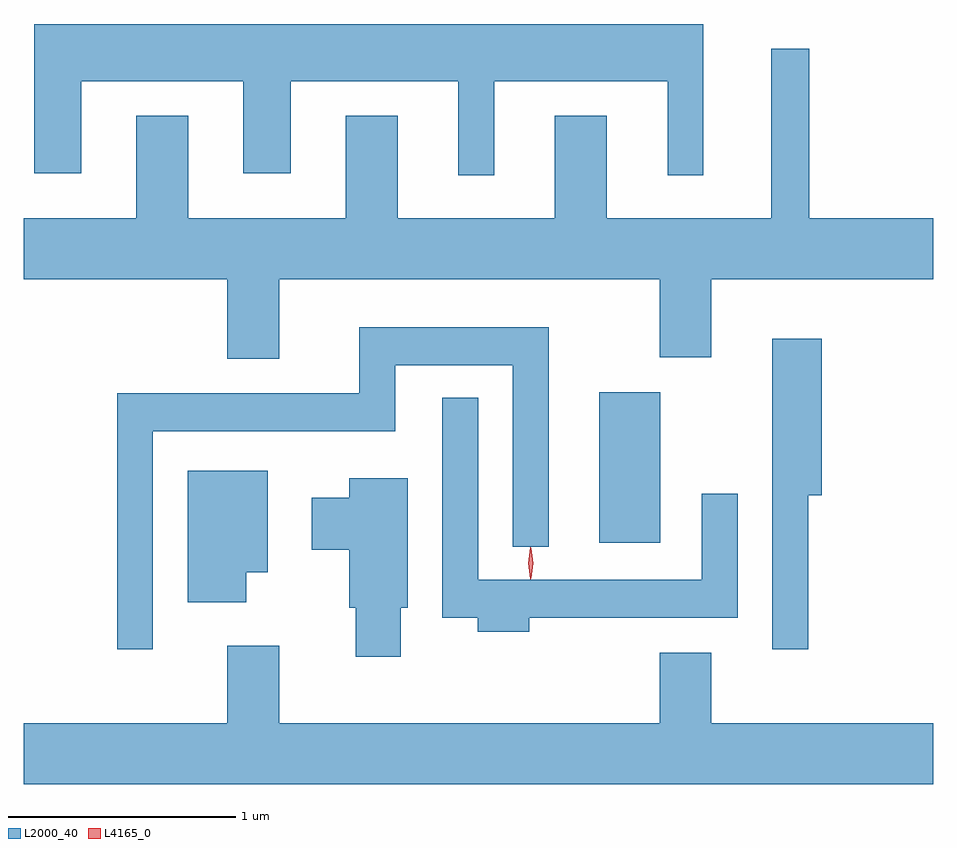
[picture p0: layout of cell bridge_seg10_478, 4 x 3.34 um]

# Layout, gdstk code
import gdstk
lib = gdstk.Library(unit=1e-6, precision=1e-09)
def R(c, l, rs):  # rectangles x0, y0, x1, y1
    for r in rs: c.add(gdstk.rectangle(r[:2], r[2:], *l))
def P(c, l, *ps):  # polygons
    for p in ps: c.add(gdstk.Polygon(p, *l))
L2000_40 = (2000, 40)
L4165_0 = (4165, 0)

bridge_seg10_478 = lib.new_cell('bridge_seg10_478')
R(bridge_seg10_478, L2000_40, [(907.526,2152.716,907.794,2153.379)])
P(bridge_seg10_478, L2000_40, [(907.064,2154.746),(907.826,2154.746),(907.826,2154.333),(907.984,2154.333),(907.984,2154.997),(905.041,2154.997),(905.041,2154.341),(905.249,2154.341),(905.249,2154.746),(905.961,2154.746),(905.961,2154.341),(906.169,2154.341),(906.169,2154.746),(906.906,2154.746),(906.906,2154.333),(907.064,2154.333)],
  [(908.995,2154.144),(908.449,2154.144),(908.449,2154.888),(908.281,2154.888),(908.281,2154.144),(907.559,2154.144),(907.559,2154.594),(907.331,2154.594),(907.331,2154.144),(906.639,2154.144),(906.639,2154.594),(906.411,2154.594),(906.411,2154.144),(905.719,2154.144),(905.719,2154.594),(905.491,2154.594),(905.491,2154.144),(904.995,2154.144),(904.995,2153.876),(905.891,2153.876),(905.891,2153.526),(906.119,2153.526),(906.119,2153.876),(907.791,2153.876),(907.791,2153.531),(908.019,2153.531),(908.019,2153.876),(908.995,2153.876)],
  [(905.564,2153.206),(906.629,2153.206),(906.629,2153.496),(907.146,2153.496),(907.146,2152.698),(907.304,2152.698),(907.304,2153.664),(906.471,2153.664),(906.471,2153.374),(905.406,2153.374),(905.406,2152.248),(905.564,2152.248)],
  [(908.444,2152.926),(908.504,2152.926),(908.504,2153.614),(908.286,2153.614),(908.286,2152.248),(908.444,2152.248)],
  [(907.219,2152.386),(908.134,2152.386),(908.134,2152.933),(907.976,2152.933),(907.976,2152.554),(906.994,2152.554),(906.994,2153.353),(906.836,2153.353),(906.836,2152.386),(906.991,2152.386),(906.991,2152.326),(907.219,2152.326)],
  [(905.974,2152.586),(906.069,2152.586),(906.069,2153.034),(905.716,2153.034),(905.716,2152.456),(905.974,2152.456)],
  [(906.654,2152.431),(906.684,2152.431),(906.684,2152.999),(906.426,2152.999),(906.426,2152.914),(906.261,2152.914),(906.261,2152.686),(906.426,2152.686),(906.426,2152.431),(906.456,2152.431),(906.456,2152.216),(906.654,2152.216)],
  [(908.995,2151.924),(908.019,2151.924),(908.019,2152.234),(907.791,2152.234),(907.791,2151.924),(906.119,2151.924),(906.119,2152.264),(905.891,2152.264),(905.891,2151.924),(904.995,2151.924),(904.995,2151.656),(908.995,2151.656)])
P(bridge_seg10_478, L4165_0, [(907.222,2152.557),(907.213,2152.627),(907.222,2152.696),(907.223,2152.696),(907.224,2152.696),(907.233,2152.627),(907.224,2152.557),(907.223,2152.557)],
  [(907.225,2152.559),(907.225,2152.56),(907.215,2152.626),(907.225,2152.692),(907.225,2152.693),(907.226,2152.692),(907.235,2152.626),(907.226,2152.56)])

lib.write_gds('bridge_seg10_478.gds')
